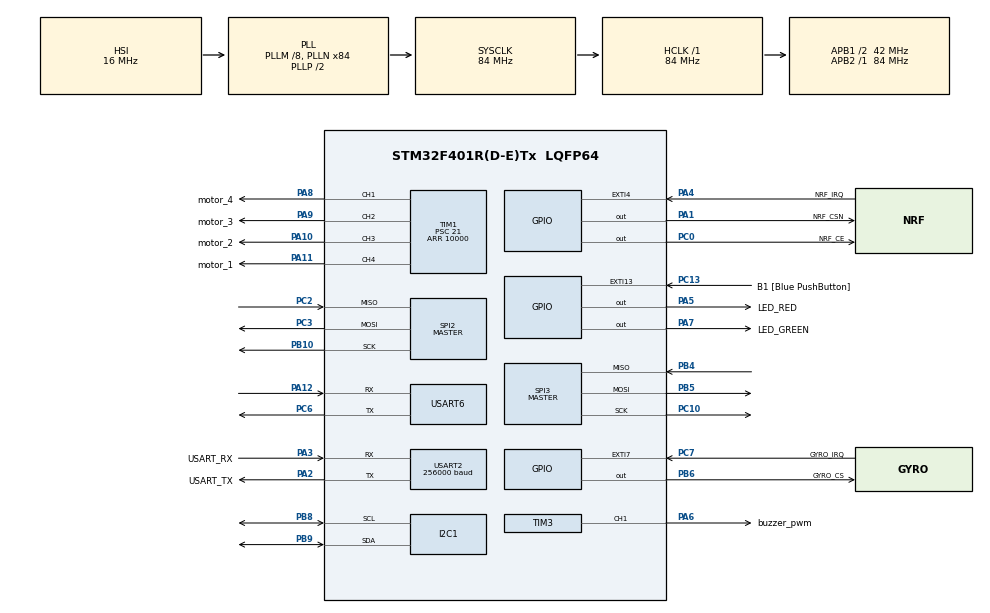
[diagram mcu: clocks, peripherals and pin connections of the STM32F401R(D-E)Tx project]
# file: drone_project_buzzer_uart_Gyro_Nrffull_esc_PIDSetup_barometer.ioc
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Mcu.Family=STM32F4
Mcu.Name=STM32F401R(D-E)Tx
Mcu.Package=LQFP64
NVIC.EXTI4_IRQn=true\:0\:0\:false\:false\:true\:true\:true\:true
NVIC.EXTI9_5_IRQn=true\:0\:0\:false\:false\:true\:true\:true\:true
NVIC.PriorityGroup=NVIC_PRIORITYGROUP_0
NVIC.TIM2_IRQn=true\:0\:0\:false\:false\:true\:true\:true\:true
NVIC.USART2_IRQn=true\:0\:0\:false\:false\:true\:true\:true\:true
PA1.GPIO_Label=NRF_CSN
PA1.Signal=GPIO_Output
PA10.GPIO_Label=motor_2
PA10.Signal=S_TIM1_CH3
PA11.GPIO_Label=motor_1
PA11.Signal=S_TIM1_CH4
PA12.Mode=Asynchronous
PA12.Signal=USART6_RX
PA13.GPIO_Label=TMS
PA13.Signal=SYS_JTMS-SWDIO
PA14.GPIO_Label=TCK
PA14.Signal=SYS_JTCK-SWCLK
PA2.GPIO_Label=USART_TX
PA2.GPIO_Mode=GPIO_MODE_AF_PP
PA2.GPIO_PuPd=GPIO_NOPULL
PA2.GPIO_Speed=GPIO_SPEED_FREQ_LOW
PA2.Mode=Asynchronous
PA2.Signal=USART2_TX
PA3.GPIO_Label=USART_RX
PA3.GPIO_Mode=GPIO_MODE_AF_PP
PA3.GPIO_PuPd=GPIO_NOPULL
PA3.GPIO_Speed=GPIO_SPEED_FREQ_LOW
PA3.Mode=Asynchronous
PA3.Signal=USART2_RX
PA4.GPIO_Label=NRF_IRQ
PA4.GPIO_ModeDefaultEXTI=GPIO_MODE_IT_FALLING
PA4.Signal=GPXTI4
PA5.GPIO_Label=LED_RED
PA5.GPIO_Mode=GPIO_MODE_OUTPUT_PP
PA5.GPIO_PuPd=GPIO_NOPULL
PA5.GPIO_Speed=GPIO_SPEED_FREQ_LOW
PA5.Signal=GPIO_Output
PA6.GPIO_Label=buzzer_pwm
PA6.Signal=S_TIM3_CH1
PA7.GPIO_Label=LED_GREEN
PA7.Signal=GPIO_Output
PA8.GPIO_Label=motor_4
PA8.Signal=S_TIM1_CH1
PA9.GPIO_Label=motor_3
PA9.Signal=S_TIM1_CH2
PB10.Mode=Full_Duplex_Master
PB10.Signal=SPI2_SCK
PB3.GPIO_Label=SWO
PB3.Signal=SYS_JTDO-SWO
PB4.Mode=Full_Duplex_Master
PB4.Signal=SPI3_MISO
PB5.Mode=Full_Duplex_Master
PB5.Signal=SPI3_MOSI
PB6.GPIO_Label=GYRO_CS
PB6.GPIO_PuPd=GPIO_NOPULL
PB6.Signal=GPIO_Output
PB8.GPIO_Pu=GPIO_PULLUP
PB8.Mode=I2C
PB8.Signal=I2C1_SCL
PB9.GPIO_Pu=GPIO_PULLUP
PB9.Mode=I2C
PB9.Signal=I2C1_SDA
PC0.GPIO_Label=NRF_CE
PC0.Signal=GPIO_Output
PC10.Mode=Full_Duplex_Master
PC10.Signal=SPI3_SCK
PC13-ANTI_TAMP.GPIO_Label=B1 [Blue PushButton]
PC13-ANTI_TAMP.GPIO_ModeDefaultEXTI=GPIO_MODE_IT_FALLING
PC13-ANTI_TAMP.GPIO_PuPd=GPIO_NOPULL
PC13-ANTI_TAMP.Signal=GPXTI13
PC14-OSC32_IN.Signal=RCC_OSC32_IN
PC15-OSC32_OUT.Signal=RCC_OSC32_OUT
PC2.Mode=Full_Duplex_Master
PC2.Signal=SPI2_MISO
PC3.Mode=Full_Duplex_Master
PC3.Signal=SPI2_MOSI
PC6.Mode=Asynchronous
PC6.Signal=USART6_TX
PC7.GPIO_Label=GYRO_IRQ
PC7.Signal=GPXTI7
PH0\ -\ OSC_IN.Mode=HSE-External-Clock-Source
PH0\ -\ OSC_IN.Signal=RCC_OSC_IN
PH1\ -\ OSC_OUT.Mode=HSE-External-Clock-Source
PH1\ -\ OSC_OUT.Signal=RCC_OSC_OUT
ProjectManager.HeapSize=0x200
ProjectManager.StackSize=0x400
ProjectManager.TargetToolchain=STM32CubeIDE
RCC.48MHZClocksFreq_Value=24000000
RCC.AHBFreq_Value=84000000
RCC.APB1CLKDivider=RCC_HCLK_DIV2
RCC.APB1Freq_Value=42000000
RCC.APB1TimFreq_Value=84000000
RCC.APB2Freq_Value=84000000
RCC.APB2TimFreq_Value=84000000
RCC.CortexFreq_Value=84000000
RCC.HCLKFreq_Value=84000000
RCC.HSE_VALUE=8000000
RCC.HSI_VALUE=16000000
RCC.LSE_VALUE=32768
RCC.PLLM=8
RCC.PLLN=84
RCC.PLLQ=7
RCC.SYSCLKFreq_VALUE=84000000
RCC.SYSCLKSource=RCC_SYSCLKSOURCE_PLLCLK
RCC.VCOOutputFreq_Value=168000000
SH.S_TIM1_CH1.0=TIM1_CH1,PWM Generation1 CH1
SH.S_TIM1_CH2.0=TIM1_CH2,PWM Generation2 CH2
SH.S_TIM1_CH3.0=TIM1_CH3,PWM Generation3 CH3
SH.S_TIM1_CH4.0=TIM1_CH4,PWM Generation4 CH4
SH.S_TIM3_CH1.0=TIM3_CH1,PWM Generation1 CH1
SPI2.BaudRatePrescaler=SPI_BAUDRATEPRESCALER_16
SPI2.Direction=SPI_DIRECTION_2LINES
SPI2.Mode=SPI_MODE_MASTER
SPI2.VirtualType=VM_MASTER
SPI3.BaudRatePrescaler=SPI_BAUDRATEPRESCALER_32
SPI3.Direction=SPI_DIRECTION_2LINES
SPI3.Mode=SPI_MODE_MASTER
SPI3.VirtualType=VM_MASTER
STMicroelectronics.X-CUBE-ALGOBUILD.1.3.0.LibraryCcDSPOoLibraryJjDSPOoLibrary=true
TIM1.AutoReloadPreload=TIM_AUTORELOAD_PRELOAD_ENABLE
TIM1.Channel-PWM\ Generation1\ CH1=TIM_CHANNEL_1
TIM1.Channel-PWM\ Generation2\ CH2=TIM_CHANNEL_2
TIM1.Channel-PWM\ Generation3\ CH3=TIM_CHANNEL_3
TIM1.Channel-PWM\ Generation4\ CH4=TIM_CHANNEL_4
TIM1.ClockDivision=TIM_CLOCKDIVISION_DIV1
TIM1.Period=10000
TIM1.Prescaler=21
TIM1.Pulse-PWM\ Generation1\ CH1=4000
TIM1.Pulse-PWM\ Generation2\ CH2=4000
TIM1.Pulse-PWM\ Generation3\ CH3=4000
TIM1.Pulse-PWM\ Generation4\ CH4=4000
TIM2.Period=84000
TIM3.AutoReloadPreload=TIM_AUTORELOAD_PRELOAD_ENABLE
TIM3.Channel-PWM\ Generation1\ CH1=TIM_CHANNEL_1
TIM3.Period=21
TIM3.Prescaler=999
TIM3.Pulse-PWM\ Generation1\ CH1=11
USART2.BaudRate=256000
USART2.VirtualMode=VM_ASYNC
USART6.VirtualMode=VM_ASYNC
VP_STMicroelectronics.X-CUBE-ALGOBUILD_VS_DSPOoLibraryJjLibrary_1.3.0_1.3.0.Mode=DSPOoLibraryJjLibrary
VP_TIM1_VS_ClockSourceINT.Mode=Internal
VP_TIM2_VS_ClockSourceINT.Mode=Internal
VP_TIM3_VS_ClockSourceINT.Mode=Internal
board=NUCLEO-F401RE

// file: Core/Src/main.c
/* USER CODE BEGIN Header */
/**
  ******************************************************************************
  * @file           : main.c
  * @brief          : Main program body
  ******************************************************************************
  * @attention
  *
  * Copyright (c) 2024 STMicroelectronics.
  * All rights reserved.
  *
  * This software is licensed under terms that can be found in the LICENSE file
  * in the root directory of this software component.
  * If no LICENSE file comes with this software, it is provided AS-IS.
  *
  ******************************************************************************
  */
/* USER CODE END Header */
#include "main.h"
#include "i2c.h"
#include "spi.h"
#include "tim.h"
#include "usart.h"
#include "gpio.h"

/* USER CODE BEGIN Includes */
#include <stdio.h>
#include "mpu6500.h"
#include "nrf24l01.h"
#include "fc.h"
#include <math.h>
#define ARM_MATH_CM4
#include "arm_math.h"
#include "bmp280.h"

//#define TRANSMITTER or RECEIVER
#define RECEIVER

/* USER CODE END Includes */

/* USER CODE BEGIN PV */
uint16_t usart_data_req = 0 ;
uint8_t usart_rx_data  = 0;
uint8_t Transmitter_Rx_flag = 0;
uint8_t RxNumber = 10;
uint16_t RxBuffer[NRF24L01_PAYLOAD_LENGTH /2] = { 0};

float gx, gy, gz ;
float ax, ay, az ;

int16_t throttle = 0, yaw = 0, pitch = 0, roll = 0;

uint8_t pid_1ms_flag = 0 ;
uint8_t esc_calib_flag = 0;
uint8_t arming_flag_2sec = 0 ;
uint8_t timer_counter_200ms = 0 ;
uint8_t timer_counter_flag_200ms = 0 ;
uint8_t mpu_update = 0;

uint32_t ccr1 = 0 ;
uint32_t ccr2 = 0 ;
uint32_t ccr3 = 0 ;
uint32_t ccr4 = 0 ;

float pitch_acc = 0 ;
float roll_acc = 0;
float acc_gravity  = 0 ;
double calib_alt_baro;

/* USER CODE END PV */

void SystemClock_Config(void);
/* USER CODE BEGIN PFP */

void Custom_GPIO_EXTI_Callback(uint16_t GPIO_Pin);

/* USER CODE END PFP */

/* USER CODE BEGIN 0 */

int __io_putchar(int ch){
	while( !(LL_USART_IsActiveFlag_TXE(USART2))) ;
    LL_USART_TransmitData8(USART2, ch) ;
    return ch ;
}

void Custom_GPIO_EXTI_Callback(uint16_t GPIO_Pin) {
	if(GPIO_Pin == NRF_IRQ_Pin)
	{
		Transmitter_Rx_flag =1;
		NRF24L01_RxReceive((uint8_t *)RxBuffer, &RxNumber, 2000);

	}
}

/* USER CODE END 0 */

int main(void)
{

  /* MCU Configuration--------------------------------------------------------*/

  /* Reset of all peripherals, Initializes the Flash interface and the Systick. */
  HAL_Init();

  /* Configure the system clock */
  SystemClock_Config();

  /* Initialize all configured peripherals */
  MX_GPIO_Init();
  MX_SPI2_Init();
  MX_I2C1_Init();
  MX_SPI3_Init();
  MX_TIM1_Init();
  MX_TIM3_Init();
  MX_USART2_UART_Init();
  MX_TIM2_Init();
  MX_USART6_UART_Init();
  /* USER CODE BEGIN 2 */
  LL_USART_EnableIT_RXNE(USART2) ;
  BUZZER_POWER_UP(1)
  HAL_Delay(100) ;
  mpu_init(SPI3 , GFS_2000DPS ,AFS_16G) ;
  calib_mpu() ;
  _blink_lights(1)
  _wireless_setup(1)
  LL_I2C_Enable(BMP_I2C) ;
  baro_init() ;
  calib_baro_alt() ;

  LL_TIM_EnableIT_UPDATE(TIM2) ;
  LL_TIM_EnableCounter(TIM2) ;

  /* USER CODE END 2 */

  /* Infinite loop */
  while (1)
  {

    /* USER CODE BEGIN 3 */

	  if (usart_data_req == 1 ) {
		usart_data_req = 0  ;
		usart_rx_data = LL_USART_ReceiveData8(USART2);
        LL_USART_TransmitData8(USART2, usart_rx_data) ;

        switch (usart_rx_data) {
			case '0':
		         LL_GPIO_TogglePin(LED_RED_GPIO_Port, LED_RED_Pin | LED_GREEN_Pin);
				break;
			case '1':
				 LL_TIM_CC_EnableChannel(TIM3, LL_TIM_CHANNEL_CH1);
				break;
			case '2':
				 LL_TIM_CC_DisableChannel(TIM3, LL_TIM_CHANNEL_CH1);
				break;
			case '3' :
				esc_calib_flag = 1;
				BUZZER_CALIB_MODE(1) ;
				break ;

       }
	}

	if (mpu_update == 1) {
		mpu_update = 0 ;
		readSensor() ;
		getGyro(&gx, &gy, &gz) ;
		getAccel(&ax, &ay, &az) ;
	}

  if (Transmitter_Rx_flag == 1) {
	  throttle = RxBuffer[0] ;
	  throttle = throttle < 4 ? 0 : throttle ;
	  throttle = throttle >4001 ? 4000 : throttle ;

	  yaw      = RxBuffer[1] - (uint16_t)2050 ;
	  yaw  = (( 8 > yaw )&&( yaw > -6 ))? 0 : yaw ;
      yaw  = yaw > 2001? 2000 : yaw;
      yaw  = yaw < -2001? -2000 : yaw;

	  pitch    = RxBuffer[2] - (uint16_t)2065 ;
	  pitch  = (( 8 > pitch) &&( pitch > -4 ))? 0 : pitch ;
	  pitch  = pitch > 2001? 2000 : pitch;
	  pitch  = pitch < -2001? -2000 : pitch;

	  roll     = RxBuffer[3] - (uint16_t)2110 ;
	  roll  = (( 5 > roll )&&( roll > -5) )? 0 : roll;
	  roll  = roll> 2001? 2000 : roll;
	  roll  = roll< -2001? -2000 : roll;

	  Transmitter_Rx_flag = 0;
   }

	if (arming_flag_2sec == 0 && (( throttle <= 0 ) && (yaw >= 1950) && (pitch <= -1950) && (roll >= 1950))) {
	  // allow the motors to turn on
	  HAL_Delay(1000) ;
	  HAL_Delay(1000) ;
	  if (arming_flag_2sec == 0 && (( throttle <= 0 ) && (yaw >= 1950) && (pitch <= -1950) && (roll >= 1950))) {
	      BUZZER_ARMED(1) ;
	      arming_flag_2sec = 1;
	      LL_GPIO_SetOutputPin(LED_GREEN_GPIO_Port, LED_GREEN_Pin) ;
	      _esc_setup_(1) ;
	  }
}

  if (arming_flag_2sec == 1 && (( throttle <= 0 ) && (yaw <= -1950) && (pitch <= -1950) && (roll <= -1950))) {
	  // allow the motors to turn off

	  if (arming_flag_2sec == 1 && (( throttle <= 0 ) && (yaw  <= -1950 ) && (pitch <= -1950) && (roll  <= -1950))) {
	  arming_flag_2sec = 0 ;
	  BUZZER_UNARMED(1) ;
	  _esc_desetup_(1) ;
	  LL_GPIO_ResetOutputPin(LED_GREEN_GPIO_Port, LED_GREEN_Pin) ;
	  }
}

  if (pid_1ms_flag == 1) {
  	pid_1ms_flag = 0 ;
  	LL_GPIO_TogglePin(LED_RED_GPIO_Port, LED_RED_Pin) ;

  	ccr1 = 4000 + (throttle )/1.6 - pitch/4 - roll/4 +yaw/4 ;
	ccr2 = 4000 + (throttle )/1.6+ pitch/4 + roll/4 +yaw/4 ;
	ccr3 = 4000 + (throttle )/1.6- pitch/4 + roll/4 -yaw/4 ;
	ccr4 = 4000 + (throttle )/1.6 + pitch/4 - roll/4 -yaw/4 ;

  }

  if (arming_flag_2sec == 1) {

	  TIM1->CCR1 = ccr1 > 8001 ? 8000 : ccr1 <= 4400 ? 4400 : ccr1 ;
	  TIM1->CCR2 = ccr2 > 8001 ? 8000 : ccr2 <= 4400 ? 4400 : ccr2 ;
	  TIM1->CCR3 = ccr3 > 8001 ? 8000 : ccr3 <= 4400 ? 4400 : ccr3 ;
	  TIM1->CCR4 = ccr4 > 8001 ? 8000 : ccr4 <= 4400 ? 4400 : ccr4 ;

  }else{

	  TIM1->CCR1 = 4000 ;
	  TIM1->CCR2 = 4000 ;
	  TIM1->CCR3 = 4000 ;
	  TIM1->CCR4 = 4000 ;
}

  roll_acc = atan2f(-ax , sqrtf(((ay*ay) + (az*az)))) ;
  pitch_acc = atan2f(ay , sqrtf(((ax *ax) + (az*az)))) ;
  acc_gravity = ( -cosf(pitch_acc)*ax + ay*(cosf(pitch_acc) * sinf(roll_acc)) + az*(cosf(pitch_acc) * cosf(roll_acc) ) ) ;

  printf("%f,%f\r\n" , roll_acc*RAD_TO_DEG , pitch_acc*RAD_TO_DEG);
  if (timer_counter_flag_200ms ) {

	  timer_counter_flag_200ms = 0;
  }

  if (esc_calib_flag == 1 ) {

  }

  }

  /* USER CODE END 3 */
}

void SystemClock_Config(void)
{
  RCC_OscInitTypeDef RCC_OscInitStruct = {0};
  RCC_ClkInitTypeDef RCC_ClkInitStruct = {0};

  /** Configure the main internal regulator output voltage
  */
  __HAL_RCC_PWR_CLK_ENABLE();
  __HAL_PWR_VOLTAGESCALING_CONFIG(PWR_REGULATOR_VOLTAGE_SCALE2);

  /** Initializes the RCC Oscillators according to the specified parameters
  * in the RCC_OscInitTypeDef structure.
  */
  RCC_OscInitStruct.OscillatorType = RCC_OSCILLATORTYPE_HSI;
  RCC_OscInitStruct.HSIState = RCC_HSI_ON;
  RCC_OscInitStruct.HSICalibrationValue = RCC_HSICALIBRATION_DEFAULT;
  RCC_OscInitStruct.PLL.PLLState = RCC_PLL_ON;
  RCC_OscInitStruct.PLL.PLLSource = RCC_PLLSOURCE_HSI;
  RCC_OscInitStruct.PLL.PLLM = 8;
  RCC_OscInitStruct.PLL.PLLN = 84;
  RCC_OscInitStruct.PLL.PLLP = RCC_PLLP_DIV2;
  RCC_OscInitStruct.PLL.PLLQ = 7;
  if (HAL_RCC_OscConfig(&RCC_OscInitStruct) != HAL_OK)
  {
    Error_Handler();
  }

  /** Initializes the CPU, AHB and APB buses clocks
  */
  RCC_ClkInitStruct.ClockType = RCC_CLOCKTYPE_HCLK|RCC_CLOCKTYPE_SYSCLK
                              |RCC_CLOCKTYPE_PCLK1|RCC_CLOCKTYPE_PCLK2;
  RCC_ClkInitStruct.SYSCLKSource = RCC_SYSCLKSOURCE_PLLCLK;
  RCC_ClkInitStruct.AHBCLKDivider = RCC_SYSCLK_DIV1;
  RCC_ClkInitStruct.APB1CLKDivider = RCC_HCLK_DIV2;
  RCC_ClkInitStruct.APB2CLKDivider = RCC_HCLK_DIV1;

  if (HAL_RCC_ClockConfig(&RCC_ClkInitStruct, FLASH_LATENCY_2) != HAL_OK)
  {
    Error_Handler();
  }
}

void Error_Handler(void)
{
  __disable_irq();
  while (1)
  {
  }
}
